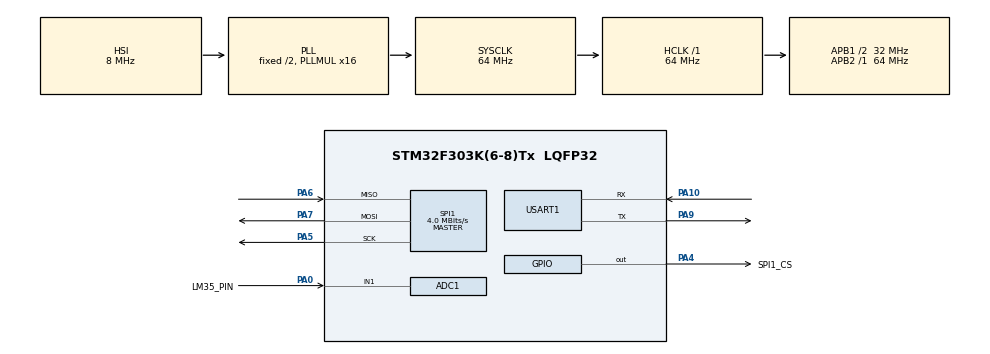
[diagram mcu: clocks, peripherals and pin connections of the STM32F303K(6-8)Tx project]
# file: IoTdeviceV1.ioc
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ADC1.Channel-1\#ChannelRegularConversion=ADC_CHANNEL_1
ADC1.NbrOfConversionFlag=1
ADC1.Offset-1\#ChannelRegularConversion=0
ADC1.OffsetNumber-1\#ChannelRegularConversion=ADC_OFFSET_NONE
ADC1.Rank-1\#ChannelRegularConversion=1
ADC1.SamplingTime-1\#ChannelRegularConversion=ADC_SAMPLETIME_1CYCLE_5
ADC1.SamplingTimeOPAMP-1\#ChannelRegularConversion=ADC_SAMPLETIME_4CYCLES_5
ADC1.SubFamily=STM32F303x8
ADC1.master=1
Mcu.Family=STM32F3
Mcu.Name=STM32F303K(6-8)Tx
Mcu.Package=LQFP32
NVIC.PriorityGroup=NVIC_PRIORITYGROUP_4
PA0.GPIO_Label=LM35_PIN
PA0.Mode=IN1-Single-Ended
PA0.Signal=ADC1_IN1
PA10.Mode=Asynchronous
PA10.Signal=USART1_RX
PA13.Mode=Serial_Wire
PA13.Signal=SYS_JTMS-SWDIO
PA14.Mode=Serial_Wire
PA14.Signal=SYS_JTCK-SWCLK
PA4.GPIO_Label=SPI1_CS
PA4.PinState=GPIO_PIN_SET
PA4.Signal=GPIO_Output
PA5.Mode=Full_Duplex_Master
PA5.Signal=SPI1_SCK
PA6.Mode=Full_Duplex_Master
PA6.Signal=SPI1_MISO
PA7.Mode=Full_Duplex_Master
PA7.Signal=SPI1_MOSI
PA9.Mode=Asynchronous
PA9.Signal=USART1_TX
ProjectManager.HeapSize=0x200
ProjectManager.StackSize=0x400
ProjectManager.TargetToolchain=CMake
RCC.AHBFreq_Value=64000000
RCC.APB1CLKDivider=RCC_HCLK_DIV2
RCC.APB1Freq_Value=32000000
RCC.APB1TimFreq_Value=64000000
RCC.APB2Freq_Value=64000000
RCC.APB2TimFreq_Value=64000000
RCC.CortexFreq_Value=64000000
RCC.HCLKFreq_Value=64000000
RCC.HSE_VALUE=8000000
RCC.HSI_VALUE=8000000
RCC.PLLMUL=RCC_PLL_MUL16
RCC.SYSCLKFreq_VALUE=64000000
RCC.SYSCLKSourceVirtual=RCC_SYSCLKSOURCE_PLLCLK
SPI1.BaudRatePrescaler=SPI_BAUDRATEPRESCALER_16
SPI1.CLKPhase=SPI_PHASE_1EDGE
SPI1.CLKPolarity=SPI_POLARITY_LOW
SPI1.CalculateBaudRate=4.0 MBits/s
SPI1.DataSize=SPI_DATASIZE_8BIT
SPI1.Direction=SPI_DIRECTION_2LINES
SPI1.Mode=SPI_MODE_MASTER
SPI1.VirtualType=VM_MASTER
USART1.VirtualMode-Asynchronous=VM_ASYNC
board=custom

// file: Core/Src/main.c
/* USER CODE BEGIN Header */
/**
  ******************************************************************************
  * @file           : main.c
  * @brief          : Main program body
  ******************************************************************************
  * @attention
  *
  * Copyright (c) 2025 STMicroelectronics.
  * All rights reserved.
  *
  * This software is licensed under terms that can be found in the LICENSE file
  * in the root directory of this software component.
  * If no LICENSE file comes with this software, it is provided AS-IS.
  *
  ******************************************************************************
  */
/* USER CODE END Header */
#include "main.h"
#include "adc.h"
#include "spi.h"
#include "usart.h"
#include "gpio.h"

/* USER CODE BEGIN Includes */
#include "w5500.h"
#include "w5500_spi.h"
#include "w5500_socket.h"
/* USER CODE END Includes */

void SystemClock_Config(void);

int main(void)
{

  /* MCU Configuration--------------------------------------------------------*/

  /* Reset of all peripherals, Initializes the Flash interface and the Systick. */
  HAL_Init();

  /* Configure the system clock */
  SystemClock_Config();

  /* Initialize all configured peripherals */
  MX_GPIO_Init();
  MX_ADC1_Init();
  MX_SPI1_Init();
  MX_USART1_UART_Init();
  /* USER CODE BEGIN 2 */
  // W5500 初始化
  SPI_Delay(10); // 等待 SPI 初始化穩定
  W5500_DevTypeDef w5500_dev;
  W5500_StatusTypeDef status = W5500_Init(SPI1_ID, &w5500_dev);
  SPI_Delay(10); // 等待 W5500 初始化穩定
  //W5500 socket 初始化
  W5500_SocketTypeDef socket_test;
  if (W5500_Socket_Init(SPI1_ID, W5500_Socket0, &socket_test) == W5500_OK) {
    printf("Socket 0 初始化成功\n");
  } else {
    printf("Socket 0 初始化失敗\n");
  }
  HAL_Delay(1000);  // 停 1 秒避免重複初始化
  // 進入 LISTEN 狀態（TCP server）
  uint8_t check_sr;
  if (W5500_Socket_Listen(SPI1_ID, W5500_Socket0, &socket_test) != W5500_OK) {
    printf("讀取SR中...\n");
  }
  if(W5500_Read_Byte(SPI1_ID, W5500_BSB_SOCKET_REG(0), W5500_Sn_SR, &check_sr) != W5500_OK){
    printf("socket0 SR error\n");
  }
  if(check_sr != SOCK_LISTEN){
    printf("Socket 0 進入 LISTEN 失敗\n");
  }
  else{
    printf("Socket 0 進入 LISTEN 成功\n");
  }
  /* USER CODE END 2 */

  /* Infinite loop */
  while (1)
  {

    /* USER CODE BEGIN 3 */
    if (status != W5500_OK) {
    printf("W5500 initialization failed\n");
    }
    printf("W5500 initialized successfully\n");
    HAL_ADC_Start(&hadc1);
    HAL_ADC_PollForConversion(&hadc1, HAL_MAX_DELAY);
    uint16_t raw = HAL_ADC_GetValue(&hadc1);
    float voltage = ((float)raw / 4095.0) * 3.3; // 單位：V
    float temperature_C = voltage * 10.0; // LM35 每 10mV = 1°C
    printf("ADC raw: %u, voltage: %.2f V, temperature: %.2f °C\r\n", raw, voltage, temperature_C);
    HAL_Delay(500);
    printf("MAC: %02X:%02X:%02X:%02X:%02X:%02X\n", w5500_dev.MAC[0], w5500_dev.MAC[1], w5500_dev.MAC[2], w5500_dev.MAC[3], w5500_dev.MAC[4], w5500_dev.MAC[5]);
    SPI_Delay(10);
    printf("IP: %d.%d.%d.%d\n", w5500_dev.IP[0], w5500_dev.IP[1], w5500_dev.IP[2], w5500_dev.IP[3]);
    SPI_Delay(10);
    printf("Subnet: %d.%d.%d.%d\n", w5500_dev.SUBNET[0], w5500_dev.SUBNET[1], w5500_dev.SUBNET[2], w5500_dev.SUBNET[3]);
    SPI_Delay(10);
    printf("Gateway: %d.%d.%d.%d\n", w5500_dev.GATEWAY[0], w5500_dev.GATEWAY[1], w5500_dev.GATEWAY[2], w5500_dev.GATEWAY[3]);
    SPI_Delay(10);
    printf("Retry Time: %d\n", w5500_dev.RetryTime);
    SPI_Delay(10);
    printf("Retry Count: %d\n", w5500_dev.RetryCount);
    SPI_Delay(10);
    printf("PHYCFGR: %02X\n", w5500_dev.PHYCFGR);
    SPI_Delay(10);
    printf("Version: %02X\n", w5500_dev.Version);
    SPI_Delay(10);
    uint32_t cr1 = hspi1.Instance->CR1;
    // bit1 = CPOL, bit0 = CPHA
    printf("SPI1 CR1 = 0x%08lX (CPOL=%d, CPHA=%d)\n", cr1, (cr1 & SPI_CR1_CPOL)>>1, (cr1 & SPI_CR1_CPHA)>>0);    // // 測試寫入 W5500_GAR0
    W5500_DevTypeDef w5500_dev_test;
    W5500_StatusTypeDef test_status = W5500_Read_Init(SPI1_ID, &w5500_dev_test);
    printf("read ------\n");
    printf("MAC: %02X:%02X:%02X:%02X:%02X:%02X\n", w5500_dev_test.MAC[0], w5500_dev_test.MAC[1], w5500_dev_test.MAC[2], w5500_dev_test.MAC[3], w5500_dev_test.MAC[4], w5500_dev_test.MAC[5]);
    SPI_Delay(10);
    printf("IP: %d.%d.%d.%d\n", w5500_dev_test.IP[0], w5500_dev_test.IP[1], w5500_dev_test.IP[2], w5500_dev_test.IP[3]);
    SPI_Delay(10);
    printf("Subnet: %d.%d.%d.%d\n", w5500_dev_test.SUBNET[0], w5500_dev_test.SUBNET[1], w5500_dev_test.SUBNET[2], w5500_dev_test.SUBNET[3]);
    SPI_Delay(10);
    printf("Gateway: %d.%d.%d.%d\n", w5500_dev_test.GATEWAY[0], w5500_dev_test.GATEWAY[1], w5500_dev_test.GATEWAY[2], w5500_dev_test.GATEWAY[3]);
    SPI_Delay(10);
    printf("Retry Time: %d\n", w5500_dev_test.RetryTime);
    SPI_Delay(10);
    printf("Retry Count: %d\n", w5500_dev_test.RetryCount);
    SPI_Delay(10);
    printf("PHYCFGR: %02X\n", w5500_dev_test.PHYCFGR);
    SPI_Delay(10);
    printf("Version: %02X\n", w5500_dev_test.Version);
    SPI_Delay(10);
    uint8_t phycfgr;
    if(W5500_Read_Byte(SPI1_ID, W5500_BSB_COMMON, W5500_PHYCFGR, &phycfgr) != W5500_OK){
      printf("phy error");
    }
    printf("PHYCFGR: 0x%02X → LNK=%d SPD=%d DPX=%d\n", phycfgr, phycfgr&0x01, (phycfgr>>1)&0x01, (phycfgr>>2)&0x01);
    uint8_t IR, IMR, SIMR, SIR;
    if(W5500_Read_Byte(SPI1_ID, W5500_BSB_COMMON, W5500_IR, &IR) != W5500_OK){
      printf("IR error");
    }
    if(W5500_Read_Byte(SPI1_ID, W5500_BSB_COMMON, W5500_IMR, &IMR) != W5500_OK){
      printf("IMR error");
    }
    if(W5500_Read_Byte(SPI1_ID, W5500_BSB_COMMON, W5500_SIMR, &SIMR) != W5500_OK){
      printf("SIMR error");
    }
    if(W5500_Read_Byte(SPI1_ID, W5500_BSB_COMMON, W5500_SIR, &SIR) != W5500_OK){
      printf("SIR error");
    }
    printf("IR: 0x%02X, IMR: 0x%02X, SIMR: 0x%02X, SIR: 0x%02X\n", IR, IMR, SIMR, SIR);
    SPI_Delay(10);
    /*socket test------------------------------------------------*/
    printf("socket test--------------\n");
    uint8_t sr;
    if(W5500_Read_Byte(SPI1_ID, W5500_BSB_SOCKET_REG(0), W5500_Sn_SR, &sr) != W5500_OK){
      printf("socket0 SR error\n");
    }
    printf("Socket 0 狀態 Sn_SR: 0x%02X\n", sr);
    printf("socket id:      %d\n", socket_test.socket_id);
    printf("protocol:       0x%02X\n", socket_test.protocol);
    printf("local port:     0x%04X\n", socket_test.local_port);
    printf("socket state:   0x%02X\n", socket_test.state);

    uint8_t read_sr, read_protocol;
    uint8_t read_cr;
    uint8_t read_port[2];
    uint8_t read_ttl, read_tx_size, read_rx_size;
    if(W5500_Read_Byte(SPI1_ID, W5500_BSB_SOCKET_REG(0), W5500_Sn_SR, &read_sr) != W5500_OK){
      printf("socket0 sr error\n");
    }
    if(W5500_Read_Byte(SPI1_ID, W5500_BSB_SOCKET_REG(0), W5500_Sn_MR, &read_protocol) != W5500_OK){
      printf("socket0 MR error\n");
    }
    if(W5500_Read_Byte(SPI1_ID, W5500_BSB_SOCKET_REG(0), W5500_Sn_PORT0, &read_port[0]) != W5500_OK){
      printf("socket0 PORT0 error\n");
    }
    if(W5500_Read_Byte(SPI1_ID, W5500_BSB_SOCKET_REG(0), W5500_Sn_PORT1, &read_port[1]) != W5500_OK){
      printf("socket0 PORT1 error\n");
    }
    if(W5500_Read_Byte(SPI1_ID, W5500_BSB_SOCKET_REG(0), W5500_Sn_CR, &read_cr) != W5500_OK){
      printf("socket0 cr error\n");
    }
    if(W5500_Read_Byte(SPI1_ID, W5500_BSB_SOCKET_REG(0), W5500_Sn_TTL, &read_ttl) != W5500_OK){
      printf("socket0 cr error\n");
    }
    if(W5500_Read_Byte(SPI1_ID, W5500_BSB_SOCKET_REG(0), W5500_Sn_TXBUF_SIZE, &read_tx_size) != W5500_OK){
      printf("socket0 cr error\n");
    }
    if(W5500_Read_Byte(SPI1_ID, W5500_BSB_SOCKET_REG(0), W5500_Sn_RXBUF_SIZE, &read_rx_size) != W5500_OK){
      printf("socket0 cr error\n");
    }
    // 顯示結果
    uint16_t port = ((uint16_t)read_port[0] << 8) | read_port[1];
    printf("Sn_MR:  0x%02X\n", read_protocol);
    printf("Sn_SR:  0x%02X\n", read_sr);
    printf("Sn_PORT: %d (0x%04X)\n", port, port);
    printf("Sn_CR:  0x%02X\n", read_cr);
    printf("Sn_TTL:  0x%02X\n", read_ttl);
    printf("Sn_TX_SIZE:  0x%02X\n", read_tx_size);
    printf("Sn_RX_SIZE:  0x%02X\n", read_rx_size);
    SPI_Delay(20);
    if (W5500_Socket_Check_Established(SPI1_ID, W5500_Socket0, &socket_test) != W5500_OK) {
      printf("SR 不是 SOCK_ESTABLISHED\n");
    }
    SPI_Delay(20);
    // 檢查是否有來自 Client 的 TCP 連線資料
    uint8_t recv_buf[128] = {0};
    W5500_StatusTypeDef recv_status = W5500_Socket_Receive(SPI1_ID, W5500_Socket0, &socket_test, recv_buf, sizeof(recv_buf));
    if (recv_status == W5500_OK) {
      printf("收到資料：%s\n", recv_buf);
      // 準備回傳溫度
      char temp_str[64];
      snprintf(temp_str, sizeof(temp_str), "Temp: %.2f °C\r\n", temperature_C);

      // 回傳給 Client
      if (W5500_Socket_Send(SPI1_ID, W5500_Socket0, &socket_test, (uint8_t *)temp_str, strlen(temp_str)) == W5500_OK) {
        printf("溫度已回傳給 Client: %s", temp_str);
      } else {
        printf("溫度回傳失敗\n");
      }
    } else if (recv_status == W5500_DATA_NOT_READY) {
      // 資料尚未準備好，可忽略
      printf("資料尚未準備好\n");
    } else {
      printf("接收資料失敗\n");
    }
    if (sr == SOCK_CLOSE_WAIT) {
    // Sn_SR = 0x1C，表示對方已關閉，進入 CLOSE-WAIT。
      printf(">>> 發現 Sn_SR = 0x1C (CLOSE_WAIT)，執行 Close\r\n");
      W5500_Socket_Close(SPI1_ID, W5500_Socket0, &socket_test);
      // 接著再初始化、監聽
      W5500_Socket_Init(SPI1_ID, W5500_Socket0, &socket_test);
      W5500_Socket_Listen(SPI1_ID, W5500_Socket0, &socket_test);
      printf(">>> 已重新 LISTEN (Sn_SR 應回到 0x14)\r\n");
    }

    SPI_Delay(20);
  }
  /* USER CODE END 3 */
}

void SystemClock_Config(void)
{
  RCC_OscInitTypeDef RCC_OscInitStruct = {0};
  RCC_ClkInitTypeDef RCC_ClkInitStruct = {0};
  RCC_PeriphCLKInitTypeDef PeriphClkInit = {0};

  /** Initializes the RCC Oscillators according to the specified parameters
  * in the RCC_OscInitTypeDef structure.
  */
  RCC_OscInitStruct.OscillatorType = RCC_OSCILLATORTYPE_HSI;
  RCC_OscInitStruct.HSIState = RCC_HSI_ON;
  RCC_OscInitStruct.HSICalibrationValue = RCC_HSICALIBRATION_DEFAULT;
  RCC_OscInitStruct.PLL.PLLState = RCC_PLL_ON;
  RCC_OscInitStruct.PLL.PLLSource = RCC_PLLSOURCE_HSI;
  RCC_OscInitStruct.PLL.PLLMUL = RCC_PLL_MUL16;
  if (HAL_RCC_OscConfig(&RCC_OscInitStruct) != HAL_OK)
  {
    Error_Handler();
  }

  /** Initializes the CPU, AHB and APB buses clocks
  */
  RCC_ClkInitStruct.ClockType = RCC_CLOCKTYPE_HCLK|RCC_CLOCKTYPE_SYSCLK
                              |RCC_CLOCKTYPE_PCLK1|RCC_CLOCKTYPE_PCLK2;
  RCC_ClkInitStruct.SYSCLKSource = RCC_SYSCLKSOURCE_PLLCLK;
  RCC_ClkInitStruct.AHBCLKDivider = RCC_SYSCLK_DIV1;
  RCC_ClkInitStruct.APB1CLKDivider = RCC_HCLK_DIV2;
  RCC_ClkInitStruct.APB2CLKDivider = RCC_HCLK_DIV1;

  if (HAL_RCC_ClockConfig(&RCC_ClkInitStruct, FLASH_LATENCY_2) != HAL_OK)
  {
    Error_Handler();
  }
  PeriphClkInit.PeriphClockSelection = RCC_PERIPHCLK_USART1|RCC_PERIPHCLK_ADC12;
  PeriphClkInit.Usart1ClockSelection = RCC_USART1CLKSOURCE_PCLK1;
  PeriphClkInit.Adc12ClockSelection = RCC_ADC12PLLCLK_DIV1;
  if (HAL_RCCEx_PeriphCLKConfig(&PeriphClkInit) != HAL_OK)
  {
    Error_Handler();
  }
}

void Error_Handler(void)
{
  __disable_irq();
  while (1)
  {
  }
}
